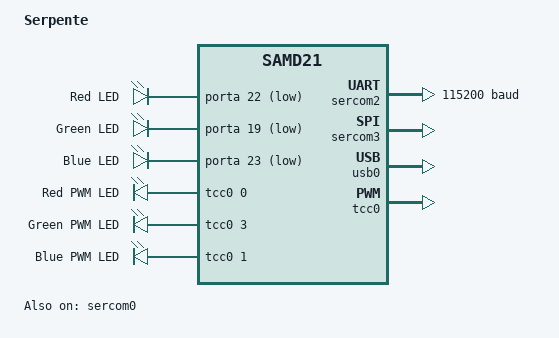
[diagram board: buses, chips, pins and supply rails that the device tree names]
/*
 * Copyright (c) 2020 Alexander Falb <fal3xx@gmail.com>
 *
 * SPDX-License-Identifier: Apache-2.0
 */

/dts-v1/;
#include <atmel/samd21.dtsi>
#include <atmel/samx2xx18.dtsi>
#include "serpente-pinctrl.dtsi"

/ {
	model = "Serpente";
	compatible = "arturo182,serpente";

	chosen {
		zephyr,console = &sercom2;
		zephyr,shell-uart = &sercom2;
		zephyr,sram = &sram0;
		zephyr,flash = &flash0;
		zephyr,code-partition = &code_partition;
	};

	aliases {
		led0 = &red_led;
		led1 = &green_led;
		led2 = &blue_led;
		red-led = &red_led;
		green-led = &green_led;
		blue-led = &blue_led;

		pwm-led0 = &red_pwm_led;
		pwm-led1 = &green_pwm_led;
		pwm-led2 = &blue_pwm_led;
		red-pwm-led = &red_pwm_led;
		green-pwm-led = &green_pwm_led;
		blue-pwm-led = &blue_pwm_led;
	};

	leds {
		compatible = "gpio-leds";
		red_led: led_0 {
			gpios = <&porta 22 GPIO_ACTIVE_LOW>;
			label = "Red LED";
		};
		green_led: led_1 {
			gpios = <&porta 19 GPIO_ACTIVE_LOW>;
			label = "Green LED";
		};
		blue_led: led_2 {
			gpios = <&porta 23 GPIO_ACTIVE_LOW>;
			label = "Blue LED";
		};
	};

	pwmleds {
		compatible = "pwm-leds";
		red_pwm_led: pwm_led_0 {
			pwms = <&tcc0 0 PWM_MSEC(20)>;
			label = "Red PWM LED";
		};
		green_pwm_led: pwm_led_1 {
			pwms = <&tcc0 3 PWM_MSEC(20)>;
			label = "Green PWM LED";
		};
		blue_pwm_led: pwm_led_2 {
			pwms = <&tcc0 1 PWM_MSEC(20)>;
			label = "Blue PWM LED";
		};
	};
};

&cpu0 {
	clock-frequency = <48000000>;
};

&sercom0 {
	status = "okay";
};

&sercom2 {
	status = "okay";
	compatible = "atmel,sam0-uart";
	current-speed = <115200>;
	rxpo = <1>;
	txpo = <0>;

	pinctrl-0 = <&sercom2_uart_default>;
	pinctrl-names = "default";
};

&sercom3 {
	status = "okay";
	compatible = "atmel,sam0-spi";
	dipo = <1>;
	dopo = <1>;
	#address-cells = <1>;
	#size-cells = <0>;

	pinctrl-0 = <&sercom3_spi_default>;
	pinctrl-names = "default";
};

zephyr_udc0: &usb0 {
	status = "okay";

	pinctrl-0 = <&usb_dc_default>;
	pinctrl-names = "default";
};

&tcc0 {
	status = "okay";
	compatible = "atmel,sam0-tcc-pwm";
	prescaler = <4>;
	#pwm-cells = <2>;

	pinctrl-0 = <&pwm_default>;
	pinctrl-names = "default";
};

&flash0 {
	partitions {
		compatible = "fixed-partitions";
		#address-cells = <1>;
		#size-cells = <1>;

		boot_partition: partition@0 {
			label = "uf2";
			reg = <0x00000000 DT_SIZE_K(8)>;
			read-only;
		};

		code_partition: partition@2000 {
			label = "code";
			reg = <0x2000 DT_SIZE_K(256-8)>;
			read-only;
		};
	};
};
